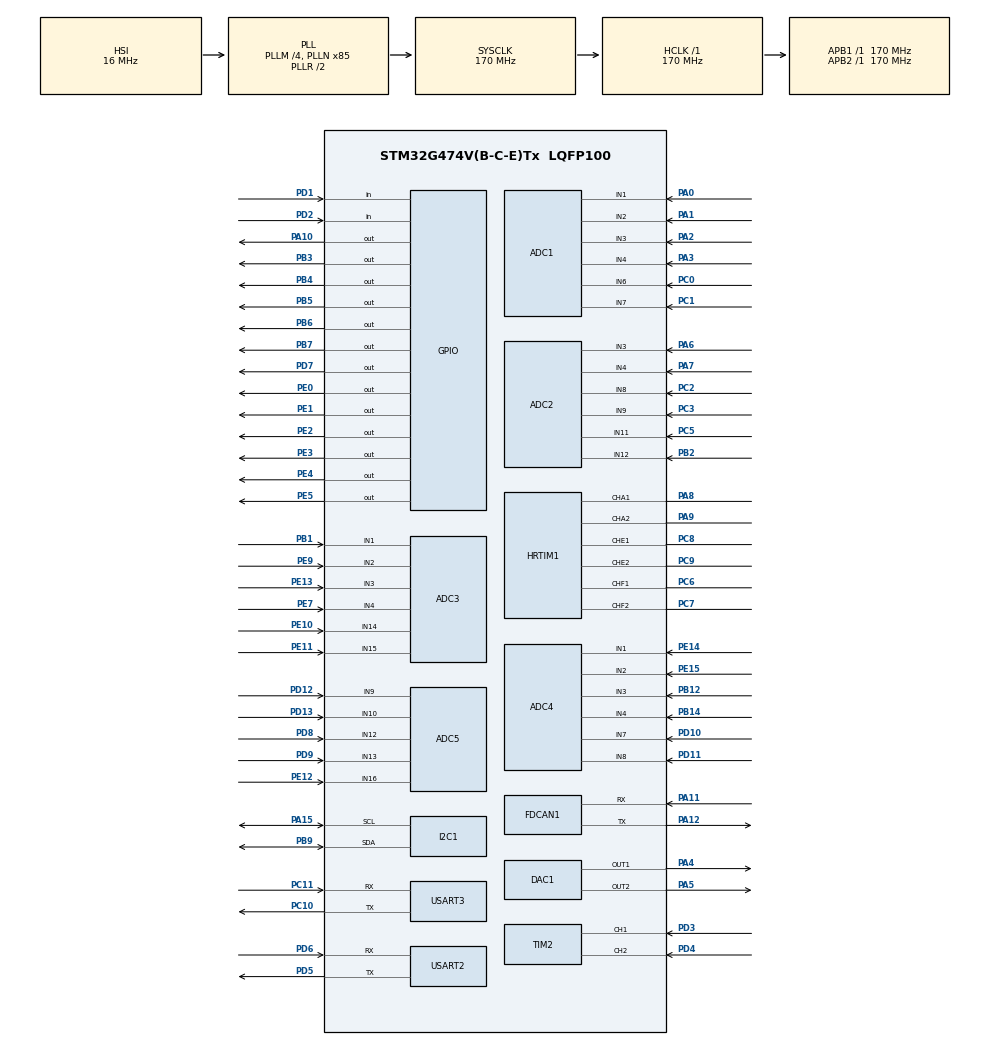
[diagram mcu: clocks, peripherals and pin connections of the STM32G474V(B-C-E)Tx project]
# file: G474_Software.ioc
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ADC1.Channel-0\#ChannelRegularConversion=ADC_CHANNEL_6
ADC1.Channel-1\#ChannelRegularConversion=ADC_CHANNEL_1
ADC1.DMAAccessModeView=ENABLE
ADC1.DMAContinuousRequests=ENABLE
ADC1.ExternalTrigConv=ADC_EXTERNALTRIG_HRTIM_TRG1
ADC1.Mode=ADC_DUALMODE_REGSIMULT_ALTERTRIG
ADC1.NbrOfConversion=2
ADC1.NbrOfConversionFlag=1
ADC1.OffsetNumber-0\#ChannelRegularConversion=ADC_OFFSET_NONE
ADC1.OffsetNumber-1\#ChannelRegularConversion=ADC_OFFSET_NONE
ADC1.OversamplingMode=ENABLE
ADC1.Rank-0\#ChannelRegularConversion=1
ADC1.Rank-1\#ChannelRegularConversion=2
ADC1.Ratio=ADC_OVERSAMPLING_RATIO_4
ADC1.RightBitShift=ADC_RIGHTBITSHIFT_2
ADC1.SamplingTime-0\#ChannelRegularConversion=ADC_SAMPLETIME_6CYCLES_5
ADC1.SamplingTime-1\#ChannelRegularConversion=ADC_SAMPLETIME_6CYCLES_5
ADC1.SingleDiff-0\#ChannelRegularConversion=ADC_DIFFERENTIAL_ENDED
ADC1.SingleDiff-1\#ChannelRegularConversion=ADC_DIFFERENTIAL_ENDED
ADC1.master=1
ADC2.Channel-0\#ChannelRegularConversion=ADC_CHANNEL_8
ADC2.Channel-1\#ChannelRegularConversion=ADC_CHANNEL_3
ADC2.DMAAccessModeView=ENABLE
ADC2.Mode=ADC_DUALMODE_REGSIMULT_ALTERTRIG
ADC2.NbrOfConversion=2
ADC2.NbrOfConversionFlag=1
ADC2.OffsetNumber-0\#ChannelRegularConversion=ADC_OFFSET_NONE
ADC2.OffsetNumber-1\#ChannelRegularConversion=ADC_OFFSET_NONE
ADC2.OversamplingMode=ENABLE
ADC2.Rank-0\#ChannelRegularConversion=1
ADC2.Rank-1\#ChannelRegularConversion=2
ADC2.Ratio=ADC_OVERSAMPLING_RATIO_4
ADC2.RightBitShift=ADC_RIGHTBITSHIFT_2
ADC2.SamplingTime-0\#ChannelRegularConversion=ADC_SAMPLETIME_6CYCLES_5
ADC2.SamplingTime-1\#ChannelRegularConversion=ADC_SAMPLETIME_6CYCLES_5
ADC2.SingleDiff-0\#ChannelRegularConversion=ADC_DIFFERENTIAL_ENDED
ADC2.SingleDiff-1\#ChannelRegularConversion=ADC_DIFFERENTIAL_ENDED
ADC3.Channel-3\#ChannelRegularConversion=ADC_CHANNEL_14
ADC3.Channel-4\#ChannelRegularConversion=ADC_CHANNEL_1
ADC3.DMAContinuousRequests=ENABLE
ADC3.ExternalTrigConv=ADC_EXTERNALTRIG_HRTIM_TRG1
ADC3.NbrOfConversion=2
ADC3.NbrOfConversionFlag=1
ADC3.OffsetNumber-3\#ChannelRegularConversion=ADC_OFFSET_NONE
ADC3.OffsetNumber-4\#ChannelRegularConversion=ADC_OFFSET_NONE
ADC3.Rank-3\#ChannelRegularConversion=1
ADC3.Rank-4\#ChannelRegularConversion=2
ADC3.SamplingTime-3\#ChannelRegularConversion=ADC_SAMPLETIME_6CYCLES_5
ADC3.SamplingTime-4\#ChannelRegularConversion=ADC_SAMPLETIME_6CYCLES_5
ADC3.SingleDiff-3\#ChannelRegularConversion=ADC_DIFFERENTIAL_ENDED
ADC3.SingleDiff-4\#ChannelRegularConversion=ADC_DIFFERENTIAL_ENDED
ADC3.master=1
ADC4.Channel-0\#ChannelRegularConversion=ADC_CHANNEL_1
ADC4.NbrOfConversionFlag=1
ADC4.OffsetNumber-0\#ChannelRegularConversion=ADC_OFFSET_NONE
ADC4.Rank-0\#ChannelRegularConversion=1
ADC4.SamplingTime-0\#ChannelRegularConversion=ADC_SAMPLETIME_2CYCLES_5
ADC4.SingleDiff-0\#ChannelRegularConversion=ADC_DIFFERENTIAL_ENDED
ADC5.Channel-0\#ChannelRegularConversion=ADC_CHANNEL_9
ADC5.NbrOfConversionFlag=1
ADC5.OffsetNumber-0\#ChannelRegularConversion=ADC_OFFSET_NONE
ADC5.Rank-0\#ChannelRegularConversion=1
ADC5.SamplingTime-0\#ChannelRegularConversion=ADC_SAMPLETIME_2CYCLES_5
ADC5.SingleDiff-0\#ChannelRegularConversion=ADC_DIFFERENTIAL_ENDED
DAC1.DAC_Channel-DAC_OUT2=DAC_CHANNEL_2
Dma.ADC1.0.Direction=DMA_PERIPH_TO_MEMORY
Dma.ADC1.0.EventEnable=DISABLE
Dma.ADC1.0.Instance=DMA1_Channel1
Dma.ADC1.0.MemDataAlignment=DMA_MDATAALIGN_WORD
Dma.ADC1.0.MemInc=DMA_MINC_ENABLE
Dma.ADC1.0.Mode=DMA_CIRCULAR
Dma.ADC1.0.PeriphDataAlignment=DMA_PDATAALIGN_WORD
Dma.ADC1.0.PeriphInc=DMA_PINC_DISABLE
Dma.ADC1.0.Polarity=HAL_DMAMUX_REQ_GEN_RISING
Dma.ADC1.0.Priority=DMA_PRIORITY_VERY_HIGH
Dma.ADC1.0.RequestNumber=1
Dma.ADC1.0.SignalID=NONE
Dma.ADC1.0.SyncEnable=DISABLE
Dma.ADC1.0.SyncPolarity=HAL_DMAMUX_SYNC_NO_EVENT
Dma.ADC1.0.SyncRequestNumber=1
Dma.ADC1.0.SyncSignalID=NONE
Dma.ADC3.1.Direction=DMA_PERIPH_TO_MEMORY
Dma.ADC3.1.EventEnable=DISABLE
Dma.ADC3.1.Instance=DMA1_Channel2
Dma.ADC3.1.MemDataAlignment=DMA_MDATAALIGN_HALFWORD
Dma.ADC3.1.MemInc=DMA_MINC_ENABLE
Dma.ADC3.1.Mode=DMA_CIRCULAR
Dma.ADC3.1.PeriphDataAlignment=DMA_PDATAALIGN_HALFWORD
Dma.ADC3.1.PeriphInc=DMA_PINC_DISABLE
Dma.ADC3.1.Polarity=HAL_DMAMUX_REQ_GEN_RISING
Dma.ADC3.1.Priority=DMA_PRIORITY_LOW
Dma.ADC3.1.RequestNumber=1
Dma.ADC3.1.SignalID=NONE
Dma.ADC3.1.SyncEnable=DISABLE
Dma.ADC3.1.SyncPolarity=HAL_DMAMUX_SYNC_NO_EVENT
Dma.ADC3.1.SyncRequestNumber=1
Dma.ADC3.1.SyncSignalID=NONE
Dma.Request0=ADC1
Dma.Request1=ADC3
FDCAN1.CalculateBaudRateNominal=3541666
FDCAN1.CalculateTimeBitNominal=282
FDCAN1.CalculateTimeQuantumNominal=94.11764705882354
HRTIM1.ADCTrigger1_Source1=HRTIM_ADCTRIGGEREVENT13_MASTER_CMP1
HRTIM1.ADCTrigger_Id1=HRTIM_ADCTRIGGER_1
HRTIM1.CompareUnit1-MasterTimer=HRTIM_COMPAREUNIT_1
HRTIM1.CompareUnit2-MasterTimer=__NULL
HRTIM1.CompareUnit2-Output_TA1TA2=__NULL
HRTIM1.CompareUnit3-MasterTimer=__NULL
HRTIM1.CompareValue1-MasterTimer=27200
HRTIM1.NumberADCTriggerSource1=1
HRTIM1.Periode_MASTER=54400
HRTIM1.Periode_TA=54400
HRTIM1.PrescalerRatio_MASTER=HRTIM_PRESCALERRATIO_MUL16
HRTIM1.PrescalerRatio_TA=HRTIM_PRESCALERRATIO_MUL16
I2C1.Timing=0x40B285C2
Mcu.Family=STM32G4
Mcu.Name=STM32G474V(B-C-E)Tx
Mcu.Package=LQFP100
NVIC.DMA1_Channel2_IRQn=true\:0\:0\:false\:false\:false\:false\:true\:true
NVIC.PriorityGroup=NVIC_PRIORITYGROUP_4
NVIC.TIM1_UP_TIM16_IRQn=true\:1\:0\:true\:false\:false\:true\:true\:true
PA0.Mode=IN1-Differential
PA0.Signal=ADC1_IN1
PA1.Mode=IN1-Differential
PA1.Signal=ADC1_IN2
PA10.Signal=GPIO_Output
PA11.Mode=FDCAN_Activate
PA11.Signal=FDCAN1_RX
PA12.Mode=FDCAN_Activate
PA12.Signal=FDCAN1_TX
PA13.Mode=Serial_Wire
PA13.Signal=SYS_JTMS-SWDIO
PA14.Mode=Serial_Wire
PA14.Signal=SYS_JTCK-SWCLK
PA15.Mode=I2C
PA15.Signal=I2C1_SCL
PA2.Mode=IN3-Differential
PA2.Signal=ADC1_IN3
PA3.Mode=IN3-Differential
PA3.Signal=ADC1_IN4
PA4.Signal=COMP_DAC11_group
PA5.Signal=COMP_DAC12_group
PA6.Mode=IN3-Differential
PA6.Signal=ADC2_IN3
PA7.Mode=IN3-Differential
PA7.Signal=ADC2_IN4
PA8.Mode=Output_TA1TA2
PA8.Signal=HRTIM1_CHA1
PA9.Mode=Output_TA1TA2
PA9.Signal=HRTIM1_CHA2
PB1.Mode=IN1-Differential
PB1.Signal=ADC3_IN1
PB12.Mode=IN3-Differential
PB12.Signal=ADC4_IN3
PB14.Mode=IN3-Differential
PB14.Signal=ADC4_IN4
PB2.Mode=IN11-Differential
PB2.Signal=ADC2_IN12
PB3.Signal=GPIO_Output
PB4.Signal=GPIO_Output
PB5.Signal=GPIO_Output
PB6.Signal=GPIO_Output
PB7.Signal=GPIO_Output
PB9.Mode=I2C
PB9.Signal=I2C1_SDA
PC0.Mode=IN6-Differential
PC0.Signal=ADC1_IN6
PC1.Mode=IN6-Differential
PC1.Signal=ADC1_IN7
PC10.Mode=Asynchronous
PC10.Signal=USART3_TX
PC11.Mode=Asynchronous
PC11.Signal=USART3_RX
PC2.Mode=IN8-Differential
PC2.Signal=ADC2_IN8
PC3.Mode=IN8-Differential
PC3.Signal=ADC2_IN9
PC5.Mode=IN11-Differential
PC5.Signal=ADC2_IN11
PC6.Mode=Output_TF1TF2
PC6.Signal=HRTIM1_CHF1
PC7.Mode=Output_TF1TF2
PC7.Signal=HRTIM1_CHF2
PC8.Mode=Output_TE1TE2
PC8.Signal=HRTIM1_CHE1
PC9.Mode=Output_TE1TE2
PC9.Signal=HRTIM1_CHE2
PD1.Signal=GPIO_Input
PD10.Mode=IN7-Differential
PD10.Signal=ADC4_IN7
PD11.Mode=IN7-Differential
PD11.Signal=ADC4_IN8
PD12.Mode=IN9-Differential
PD12.Signal=ADC5_IN9
PD13.Mode=IN9-Differential
PD13.Signal=ADC5_IN10
PD2.Signal=GPIO_Input
PD3.Signal=S_TIM2_CH1
PD4.Signal=S_TIM2_CH2
PD5.Mode=Asynchronous
PD5.Signal=USART2_TX
PD6.Mode=Asynchronous
PD6.Signal=USART2_RX
PD7.Signal=GPIO_Output
PD8.Mode=IN12-Differential
PD8.Signal=ADC5_IN12
PD9.Mode=IN12-Differential
PD9.Signal=ADC5_IN13
PE0.Signal=GPIO_Output
PE1.Signal=GPIO_Output
PE10.Mode=IN14-Differential
PE10.Signal=ADC3_IN14
PE11.Mode=IN14-Differential
PE11.Signal=ADC3_IN15
PE12.Mode=IN16-Single-Ended
PE12.Signal=ADC5_IN16
PE13.Mode=IN3-Differential
PE13.Signal=ADC3_IN3
PE14.Mode=IN1-Differential
PE14.Signal=ADC4_IN1
PE15.Mode=IN1-Differential
PE15.Signal=ADC4_IN2
PE2.Signal=GPIO_Output
PE3.Signal=GPIO_Output
PE4.Signal=GPIO_Output
PE5.Signal=GPIO_Output
PE7.Mode=IN3-Differential
PE7.Signal=ADC3_IN4
PE9.Mode=IN1-Differential
PE9.Signal=ADC3_IN2
PF0-OSC_IN.Mode=HSE-External-Oscillator
PF0-OSC_IN.Signal=RCC_OSC_IN
PF1-OSC_OUT.Mode=HSE-External-Oscillator
PF1-OSC_OUT.Signal=RCC_OSC_OUT
ProjectManager.HeapSize=0x200
ProjectManager.StackSize=0x400
ProjectManager.TargetToolchain=CMake
RCC.ADC12Freq_Value=170000000
RCC.ADC345Freq_Value=170000000
RCC.AHBFreq_Value=170000000
RCC.APB1Freq_Value=170000000
RCC.APB1TimFreq_Value=170000000
RCC.APB2Freq_Value=170000000
RCC.APB2TimFreq_Value=170000000
RCC.CortexFreq_Value=170000000
RCC.EXTERNAL_CLOCK_VALUE=12288000
RCC.HCLKFreq_Value=170000000
RCC.HSE_VALUE=24000000
RCC.HSI48_VALUE=48000000
RCC.HSI_VALUE=16000000
RCC.PLLM=RCC_PLLM_DIV4
RCC.PLLN=85
RCC.SYSCLKFreq_VALUE=170000000
RCC.SYSCLKSource=RCC_SYSCLKSOURCE_PLLCLK
RCC.USBFreq_Value=170000000
RCC.VCOOutputFreq_Value=340000000
SH.COMP_DAC11_group.0=DAC1_OUT1,DAC_OUT1
SH.COMP_DAC12_group.0=DAC1_OUT2,DAC_OUT2
SH.S_TIM2_CH1.0=TIM2_CH1,Encoder_Interface
SH.S_TIM2_CH2.0=TIM2_CH2,Encoder_Interface
TIM1.Channel-PWM\ Generation1\ No\ Output=TIM_CHANNEL_1
TIM1.PeriodNoDither=100
TIM1.Prescaler=1699
USART2.VirtualMode-Asynchronous=VM_ASYNC
USART3.VirtualMode-Asynchronous=VM_ASYNC
VP_HRTIM1_VS_hrtimMasterTimerNoOutput.Mode=MasterTimer
VP_SYS_VS_DBSignals.Mode=DisableDeadBatterySignals
VP_TIM1_VS_no_output1.Mode=PWM Generation1 No Output
board=custom

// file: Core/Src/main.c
/* USER CODE BEGIN Header */
/**
  ******************************************************************************
  * @file           : main.c
  * @brief          : Main program body
  ******************************************************************************
  * @attention
  *
  * Copyright (c) 2026 STMicroelectronics.
  * All rights reserved.
  *
  * This software is licensed under terms that can be found in the LICENSE file
  * in the root directory of this software component.
  * If no LICENSE file comes with this software, it is provided AS-IS.
  *
  ******************************************************************************
  */
/* USER CODE END Header */
#include "main.h"
#include "adc.h"
#include "dac.h"
#include "dma.h"
#include "fdcan.h"
#include "hrtim.h"
#include "i2c.h"
#include "tim.h"
#include "usart.h"
#include "gpio.h"

/* USER CODE BEGIN PV */
/* ================= minimal interrupt chain (no control algorithm) =============
 * ADC1+ADC2 (dual regular simultaneous, 2 conversions each) -> DMA1_Channel1
 *   DMA moves one 32-bit word per conversion from ADC12_COMMON->CDR:
 *     [15:0] = ADC1 result, [31:16] = ADC2 result
 * ADC3 (independent, 2 conversions) -> DMA1_Channel2  (this one has the NVIC line)
 * Both are triggered by HRTIM ADC trigger 1, so every trigger produces one
 * complete set of six phase samples (voltage + current).
 *
 * Two measurement windows for the logic analyzer (both pins are push-pull
 * outputs created by MX_GPIO_Init):
 *   PB5 : 50 kHz fast loop  (one pulse per HRTIM trigger)   <- moved from PD7
 *   PD7 : slow loop         (one pulse per TIM1 update interrupt)
 * The actual computation is replaced by a tunable busy-wait Dummy_Delay().
 * -------------------------------------------------------------------------- */
#include "tim.h"                       /* htim1 */

extern DMA_HandleTypeDef hdma_adc3;    /* defined in adc.c */

#define FAST_PIN        GPIO_PIN_5     /* PB5: 50 kHz fast-loop window (PD7 cold joint) */
#define FAST_PORT       GPIOB
#define SLOW_PIN        GPIO_PIN_7     /* PD7: slow-loop window (not measured now)      */
#define SLOW_PORT       GPIOD

/* dummy workload length, in loop iterations (~6 CPU cycles each at -O0).
 * Tune live from the debugger, no rebuild needed. */
volatile uint32_t g_fast_loops = 150u;   /* 20 us slot  -> keep well below */
volatile uint32_t g_slow_loops = 300u;

volatile uint32_t g_fast_count = 0u;    /* 50 kHz ticks  */
volatile uint32_t g_slow_count = 0u;    /* TIM1 ticks    */
volatile uint32_t g_main_loops = 0u;    /* main-loop heartbeat */

volatile uint32_t g_adc12_raw[2] = {0u, 0u};  /* {ADC1,ADC2} of conv #1 / #2 */
volatile uint16_t g_adc3_raw[2]  = {0u, 0u};  /* ADC3 conv #1 / #2           */

static uint32_t s_buf12[2];            /* DMA target: 2 x 32-bit (CDR)  */
static uint16_t s_buf3[2];             /* DMA target: 2 x 16-bit        */

/* CubeMX currently has ADC "DMA Continuous Requests" = DISABLE for ADC1/ADC2/ADC3.
 * With DMACFG = 0 the hardware clears ADSTART at the end of every DMA transfer,
 * so the ADC converts one sequence and then stops. Until that option is enabled
 * in CubeMX, re-arm ADSTART once per tick (runtime workaround, no config change).
 * Set to 0 as soon as CubeMX enables DMAContinuousRequests. */
#ifndef ADC_DMACFG_WORKAROUND
#define ADC_DMACFG_WORKAROUND 0   /* CubeMX: DMAContinuousRequests = ENABLE now */
#endif
/* USER CODE END PV */

void SystemClock_Config(void);

/* USER CODE BEGIN 0 */
/* Busy-wait used as a stand-in for the control computation.
 * Volatile counter => the compiler cannot remove it. */
static void Dummy_Delay(uint32_t n)
{
  while (n-- > 0u)
  {
    __NOP();
  }
}

/* ---- IRQ handlers: CubeMX IRQ-handler generation is disabled, so the vectors
 * we use are provided here explicitly. ---- */
void DMA1_Channel2_IRQHandler(void)          /* ADC3 DMA done: 50 kHz tick */
{
  HAL_DMA_IRQHandler(&hdma_adc3);
}

void TIM1_UP_TIM16_IRQHandler(void)          /* TIM1 update: slow-loop tick */
{
  HAL_TIM_IRQHandler(&htim1);
}

/* Slow loop: TIM1 update interrupt -> PB5 window + dummy workload */
void HAL_TIM_PeriodElapsedCallback(TIM_HandleTypeDef *htim)
{
  if (htim->Instance == TIM1)
  {
    SLOW_PORT->BSRR = SLOW_PIN;                     /* PD7 high */

    Dummy_Delay(g_slow_loops);

    SLOW_PORT->BSRR = (uint32_t)SLOW_PIN << 16u;    /* PD7 low  */
    g_slow_count++;
  }
}

/* Fast loop: one HRTIM trigger worth of samples -> PD7 window + dummy workload */
void HAL_ADC_ConvCpltCallback(ADC_HandleTypeDef *hadc)
{
  if (hadc->Instance == ADC3)
  {
    FAST_PORT->BSRR = FAST_PIN;                     /* PB5 high */

    Dummy_Delay(g_fast_loops);

    FAST_PORT->BSRR = (uint32_t)FAST_PIN << 16u;    /* PB5 low  */

    g_adc12_raw[0] = s_buf12[0];
    g_adc12_raw[1] = s_buf12[1];
    g_adc3_raw[0]  = s_buf3[0];
    g_adc3_raw[1]  = s_buf3[1];

    g_fast_count++;

#if (ADC_DMACFG_WORKAROUND != 0)
    /* re-arm both ADC sequences so the next HRTIM trigger converts again */
    SET_BIT(ADC1->CR, ADC_CR_ADSTART);               /* ADC1 + ADC2 (dual)     */
    SET_BIT(ADC3->CR, ADC_CR_ADSTART);               /* ADC3                   */
#endif
  }
}
/* USER CODE END 0 */

int main(void)
{

  /* MCU Configuration--------------------------------------------------------*/

  /* Reset of all peripherals, Initializes the Flash interface and the Systick. */
  HAL_Init();

  /* Configure the system clock */
  SystemClock_Config();

  /* Initialize all configured peripherals */
  MX_GPIO_Init();
  MX_DMA_Init();
  MX_ADC1_Init();
  MX_ADC2_Init();
  MX_ADC3_Init();
  MX_HRTIM1_Init();
  MX_FDCAN1_Init();
  MX_USART2_UART_Init();
  MX_ADC4_Init();
  MX_ADC5_Init();
  MX_USART3_UART_Init();
  MX_TIM1_Init();
  MX_DAC1_Init();
  MX_TIM2_Init();
  MX_I2C1_Init();
  /* USER CODE BEGIN 2 */
  /* ---- HRTIM: start the counters (ADC trigger comes from MASTER CMP1).
   * The PWM outputs are started too, but with the current CubeMX settings they
   * have no Set/Reset source, so they stay at their idle level (= no switching,
   * safe while the power stage is not ready).                       ---- */
  /* The HRTIM ADC trigger register (ADC1R) is double buffered: it only becomes
   * active after an update event of its configured update source. With the
   * current CubeMX settings no update event is generated (MISR.MUPD never sets),
   * so the ADC trigger would never be armed. Force one software update here. */
  if (HAL_HRTIM_SoftwareUpdate(&hhrtim1, HRTIM_TIMERUPDATE_MASTER) != HAL_OK)
  {
    Error_Handler();
  }

  if (HAL_HRTIM_WaveformCountStart(&hhrtim1,
                                   HRTIM_TIMERID_MASTER | HRTIM_TIMERID_TIMER_A |
                                   HRTIM_TIMERID_TIMER_E | HRTIM_TIMERID_TIMER_F) != HAL_OK)
  {
    Error_Handler();
  }
  if (HAL_HRTIM_WaveformOutputStart(&hhrtim1,
                                    HRTIM_OUTPUT_TA1 | HRTIM_OUTPUT_TA2 |
                                    HRTIM_OUTPUT_TE1 | HRTIM_OUTPUT_TE2 |
                                    HRTIM_OUTPUT_TF1 | HRTIM_OUTPUT_TF2) != HAL_OK)
  {
    Error_Handler();
  }

  /* ---- TIM1: slow-loop interrupt source.
   * Use HAL_TIM_Base_Start_IT() (sets DIER.UIE = update interrupt); the PWM
   * variant would raise the CC interrupt instead of the update one.
   * The TIM1 update NVIC line is now generated by CubeMX in tim.c, so nothing
   * is configured here.
   * NOTE: Prescaler=9 / Period=17999 with a 170 MHz timer clock = 944 Hz.
   * For exactly 1 kHz use Period=16999 (Prescaler=9).                   ---- */
  if (HAL_TIM_Base_Start_IT(&htim1) != HAL_OK)
  {
    Error_Handler();
  }

  /* ---- ADC: calibrate (differential channels) then start both DMA chains ---- */
  if (HAL_ADCEx_Calibration_Start(&hadc1, ADC_DIFFERENTIAL_ENDED) != HAL_OK)
  {
    Error_Handler();
  }
  if (HAL_ADCEx_Calibration_Start(&hadc3, ADC_DIFFERENTIAL_ENDED) != HAL_OK)
  {
    Error_Handler();
  }
  if (HAL_ADCEx_MultiModeStart_DMA(&hadc1, s_buf12, 2u) != HAL_OK)   /* ADC1 + ADC2 */
  {
    Error_Handler();
  }
  if (HAL_ADC_Start_DMA(&hadc3, (uint32_t *)s_buf3, 2u) != HAL_OK)   /* ADC3        */
  {
    Error_Handler();
  }
  /* USER CODE END 2 */

  /* Infinite loop */
  while (1)
  {

    /* USER CODE BEGIN 3 */
    g_main_loops++;
  }
  /* USER CODE END 3 */
}

void SystemClock_Config(void)
{
  RCC_OscInitTypeDef RCC_OscInitStruct = {0};
  RCC_ClkInitTypeDef RCC_ClkInitStruct = {0};

  /** Configure the main internal regulator output voltage
  */
  HAL_PWREx_ControlVoltageScaling(PWR_REGULATOR_VOLTAGE_SCALE1_BOOST);

  /** Initializes the RCC Oscillators according to the specified parameters
  * in the RCC_OscInitTypeDef structure.
  */
  RCC_OscInitStruct.OscillatorType = RCC_OSCILLATORTYPE_HSI;
  RCC_OscInitStruct.HSIState = RCC_HSI_ON;
  RCC_OscInitStruct.HSICalibrationValue = RCC_HSICALIBRATION_DEFAULT;
  RCC_OscInitStruct.PLL.PLLState = RCC_PLL_ON;
  RCC_OscInitStruct.PLL.PLLSource = RCC_PLLSOURCE_HSI;
  RCC_OscInitStruct.PLL.PLLM = RCC_PLLM_DIV4;
  RCC_OscInitStruct.PLL.PLLN = 85;
  RCC_OscInitStruct.PLL.PLLP = RCC_PLLP_DIV2;
  RCC_OscInitStruct.PLL.PLLQ = RCC_PLLQ_DIV2;
  RCC_OscInitStruct.PLL.PLLR = RCC_PLLR_DIV2;
  if (HAL_RCC_OscConfig(&RCC_OscInitStruct) != HAL_OK)
  {
    Error_Handler();
  }

  /** Initializes the CPU, AHB and APB buses clocks
  */
  RCC_ClkInitStruct.ClockType = RCC_CLOCKTYPE_HCLK|RCC_CLOCKTYPE_SYSCLK
                              |RCC_CLOCKTYPE_PCLK1|RCC_CLOCKTYPE_PCLK2;
  RCC_ClkInitStruct.SYSCLKSource = RCC_SYSCLKSOURCE_PLLCLK;
  RCC_ClkInitStruct.AHBCLKDivider = RCC_SYSCLK_DIV1;
  RCC_ClkInitStruct.APB1CLKDivider = RCC_HCLK_DIV1;
  RCC_ClkInitStruct.APB2CLKDivider = RCC_HCLK_DIV1;

  if (HAL_RCC_ClockConfig(&RCC_ClkInitStruct, FLASH_LATENCY_4) != HAL_OK)
  {
    Error_Handler();
  }
}

void Error_Handler(void)
{
  __disable_irq();
  while (1)
  {
  }
}
